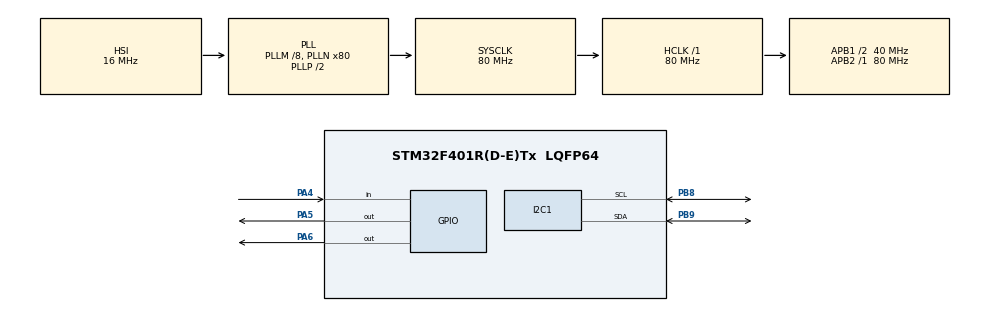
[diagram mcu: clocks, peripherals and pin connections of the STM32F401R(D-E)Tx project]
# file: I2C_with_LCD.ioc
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Mcu.Family=STM32F4
Mcu.Name=STM32F401R(D-E)Tx
Mcu.Package=LQFP64
NVIC.PriorityGroup=NVIC_PRIORITYGROUP_4
NVIC.RTC_Alarm_IRQn=true\:0\:0\:false\:false\:true\:true\:true\:true
PA13.Mode=Serial_Wire
PA13.Signal=SYS_JTMS-SWDIO
PA14.Mode=Serial_Wire
PA14.Signal=SYS_JTCK-SWCLK
PA4.Signal=GPIO_Input
PA5.Signal=GPIO_Output
PA6.Signal=GPIO_Output
PB8.Mode=I2C
PB8.Signal=I2C1_SCL
PB9.Mode=I2C
PB9.Signal=I2C1_SDA
PC14-OSC32_IN.Mode=LSE-External-Oscillator
PC14-OSC32_IN.Signal=RCC_OSC32_IN
PC15-OSC32_OUT.Mode=LSE-External-Oscillator
PC15-OSC32_OUT.Signal=RCC_OSC32_OUT
PH0\ -\ OSC_IN.Mode=HSE-External-Oscillator
PH0\ -\ OSC_IN.Signal=RCC_OSC_IN
PH1\ -\ OSC_OUT.Mode=HSE-External-Oscillator
PH1\ -\ OSC_OUT.Signal=RCC_OSC_OUT
ProjectManager.HeapSize=0x200
ProjectManager.StackSize=0x400
ProjectManager.TargetToolchain=STM32CubeIDE
RCC.48MHZClocksFreq_Value=40000000
RCC.AHBFreq_Value=80000000
RCC.APB1CLKDivider=RCC_HCLK_DIV2
RCC.APB1Freq_Value=40000000
RCC.APB1TimFreq_Value=80000000
RCC.APB2Freq_Value=80000000
RCC.APB2TimFreq_Value=80000000
RCC.CortexFreq_Value=80000000
RCC.HCLKFreq_Value=80000000
RCC.HSE_VALUE=25000000
RCC.HSI_VALUE=16000000
RCC.PLLM=8
RCC.PLLN=80
RCC.SYSCLKFreq_VALUE=80000000
RCC.SYSCLKSource=RCC_SYSCLKSOURCE_PLLCLK
RCC.VCOOutputFreq_Value=160000000
RTC.Alarm=RTC_ALARM_A
RTC.AlarmDateWeekDay=12
RTC.AlarmMaskDateWeekDay=RTC_ALARMMASK_DATEWEEKDAY
RTC.AlarmMaskHours=RTC_ALARMMASK_HOURS
RTC.AlarmMaskMinutes=RTC_ALARMMASK_MINUTES
RTC.Date=13
RTC.Hours=11
RTC.Hours_A=11
RTC.Minutes=58
RTC.Minutes_A=59
RTC.Seconds=30
RTC.Year=23
VP_RTC_VS_RTC_Activate.Mode=RTC_Enabled
VP_RTC_VS_RTC_Alarm_A_Intern.Mode=Alarm A
VP_RTC_VS_RTC_Calendar.Mode=RTC_Calendar
board=custom

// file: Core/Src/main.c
/* USER CODE BEGIN Header */
/**
  ******************************************************************************
  * @file           : main.c
  * @brief          : Main program body
  ******************************************************************************
  * @attention
  *
  * Copyright (c) 2023 STMicroelectronics.
  * All rights reserved.
  *
  * This software is licensed under terms that can be found in the LICENSE file
  * in the root directory of this software component.
  * If no LICENSE file comes with this software, it is provided AS-IS.
  *
  ******************************************************************************
  */
/* USER CODE END Header */
#include "main.h"
#include <stdio.h>
#include <stdlib.h>
#include "i2c_lcd.h"
#include "stm32f4xx_hal.h"

I2C_HandleTypeDef hi2c1;

RTC_HandleTypeDef hrtc;

uint8_t alarm = 0;

char time[10];
char date[10];
/* USER CODE END PV */

void SystemClock_Config(void);
static void MX_GPIO_Init(void);
static void MX_I2C1_Init(void);
static void MX_RTC_Init(void);

/* USER CODE BEGIN 0 */
void get_time(void)
{

	  RTC_TimeTypeDef gtime;
	  RTC_DateTypeDef gdate;

	  HAL_RTC_GetTime(&hrtc, &gtime, RTC_FORMAT_BIN);
	  sprintf((char*)time, "%02d:%02d:%02d", gtime.Hours, gtime.Minutes, gtime.Seconds);

	  HAL_RTC_GetDate(&hrtc, &gdate, RTC_FORMAT_BIN);
	  sprintf((char*)date, "%02d:%02d:%02d", gdate.Date, gdate.Month, 2000 + gdate.Year);

}

void display(void)
{
	lcd_send_cmd(0x80);
	lcd_send_string("time:");
	lcd_send_string(time);

	lcd_send_cmd(0xc0);
	lcd_send_string("Date:");
	lcd_send_string(date);
}

void set_alarm(void)
{
	  /** Enable the Alarm A
	  */
	  RTC_AlarmTypeDef sAlarm;

	  sAlarm.AlarmTime.Hours = 0x11;
	  sAlarm.AlarmTime.Minutes = 0x59;
	  sAlarm.AlarmTime.Seconds = 0x0;
	  sAlarm.AlarmTime.SubSeconds = 0x0;
	  sAlarm.AlarmTime.DayLightSaving = RTC_DAYLIGHTSAVING_NONE;
	  sAlarm.AlarmTime.StoreOperation = RTC_STOREOPERATION_RESET;
	  sAlarm.AlarmMask = RTC_ALARMMASK_NONE;
	  sAlarm.AlarmSubSecondMask = RTC_ALARMSUBSECONDMASK_ALL;
	  sAlarm.AlarmDateWeekDaySel = RTC_ALARMDATEWEEKDAYSEL_DATE;
	  sAlarm.AlarmDateWeekDay = 0x12;
	  sAlarm.Alarm = RTC_ALARM_A;
	  if (HAL_RTC_SetAlarm_IT(&hrtc, &sAlarm, RTC_FORMAT_BCD) != HAL_OK)
	  {
	    Error_Handler();
	  }
	  /* USER CODE BEGIN RTC_Init 2 */

	  /* USER CODE END RTC_Init 2 */
}

void HAL_RTC_AlarmAEventCallback(RTC_HandleTypeDef *hrtc) {

	alarm = 1;

}

/* USER CODE END 0 */

int main(void)
{

  /* MCU Configuration--------------------------------------------------------*/

  /* Reset of all peripherals, Initializes the Flash interface and the Systick. */
  HAL_Init();

  /* Configure the system clock */
  SystemClock_Config();

  /* Initialize all configured peripherals */
  MX_GPIO_Init();
  MX_I2C1_Init();
  MX_RTC_Init();
  /* USER CODE BEGIN 2 */
  lcd_init();
  /* USER CODE END 2 */

  /* Infinite loop */
  /* USER CODE BEGIN WHILE */
  while (1)
  {
	   get_time();
	   display();
	   HAL_Delay(500);

	   if (alarm)
	   {
		   HAL_GPIO_WritePin(GPIOA, GPIO_PIN_6, GPIO_PIN_SET);
		   HAL_GPIO_WritePin(GPIOA, GPIO_PIN_5, GPIO_PIN_SET);   //once alarm done will set led forever
		   alarm = 0;
	   }
 /* USER CODE BEGIN 3 */

    /* USER CODE END WHILE */
  }
    /*USER CODE BEGIN 3 */
}

void SystemClock_Config(void)
{
  RCC_OscInitTypeDef RCC_OscInitStruct = {0};
  RCC_ClkInitTypeDef RCC_ClkInitStruct = {0};

  /** Configure the main internal regulator output voltage
  */
  __HAL_RCC_PWR_CLK_ENABLE();
  __HAL_PWR_VOLTAGESCALING_CONFIG(PWR_REGULATOR_VOLTAGE_SCALE2);

  /** Initializes the RCC Oscillators according to the specified parameters
  * in the RCC_OscInitTypeDef structure.
  */
  RCC_OscInitStruct.OscillatorType = RCC_OSCILLATORTYPE_HSI|RCC_OSCILLATORTYPE_LSI;
  RCC_OscInitStruct.HSIState = RCC_HSI_ON;
  RCC_OscInitStruct.HSICalibrationValue = RCC_HSICALIBRATION_DEFAULT;
  RCC_OscInitStruct.LSIState = RCC_LSI_ON;
  RCC_OscInitStruct.PLL.PLLState = RCC_PLL_ON;
  RCC_OscInitStruct.PLL.PLLSource = RCC_PLLSOURCE_HSI;
  RCC_OscInitStruct.PLL.PLLM = 8;
  RCC_OscInitStruct.PLL.PLLN = 80;
  RCC_OscInitStruct.PLL.PLLP = RCC_PLLP_DIV2;
  RCC_OscInitStruct.PLL.PLLQ = 4;
  if (HAL_RCC_OscConfig(&RCC_OscInitStruct) != HAL_OK)
  {
    Error_Handler();
  }

  /** Initializes the CPU, AHB and APB buses clocks
  */
  RCC_ClkInitStruct.ClockType = RCC_CLOCKTYPE_HCLK|RCC_CLOCKTYPE_SYSCLK
                              |RCC_CLOCKTYPE_PCLK1|RCC_CLOCKTYPE_PCLK2;
  RCC_ClkInitStruct.SYSCLKSource = RCC_SYSCLKSOURCE_PLLCLK;
  RCC_ClkInitStruct.AHBCLKDivider = RCC_SYSCLK_DIV1;
  RCC_ClkInitStruct.APB1CLKDivider = RCC_HCLK_DIV2;
  RCC_ClkInitStruct.APB2CLKDivider = RCC_HCLK_DIV1;

  if (HAL_RCC_ClockConfig(&RCC_ClkInitStruct, FLASH_LATENCY_2) != HAL_OK)
  {
    Error_Handler();
  }
}

static void MX_I2C1_Init(void)
{

  hi2c1.Instance = I2C1;
  hi2c1.Init.ClockSpeed = 100000;
  hi2c1.Init.DutyCycle = I2C_DUTYCYCLE_2;
  hi2c1.Init.OwnAddress1 = 0;
  hi2c1.Init.AddressingMode = I2C_ADDRESSINGMODE_7BIT;
  hi2c1.Init.DualAddressMode = I2C_DUALADDRESS_DISABLE;
  hi2c1.Init.OwnAddress2 = 0;
  hi2c1.Init.GeneralCallMode = I2C_GENERALCALL_DISABLE;
  hi2c1.Init.NoStretchMode = I2C_NOSTRETCH_DISABLE;
  if (HAL_I2C_Init(&hi2c1) != HAL_OK)
  {
    Error_Handler();
  }

}

static void MX_RTC_Init(void)
{

  RTC_TimeTypeDef sTime = {0};
  RTC_DateTypeDef sDate = {0};
  RTC_AlarmTypeDef sAlarm = {0};

  /** Initialize RTC Only
  */
  hrtc.Instance = RTC;
  hrtc.Init.HourFormat = RTC_HOURFORMAT_24;
  hrtc.Init.AsynchPrediv = 127;
  hrtc.Init.SynchPrediv = 255;
  hrtc.Init.OutPut = RTC_OUTPUT_DISABLE;
  hrtc.Init.OutPutPolarity = RTC_OUTPUT_POLARITY_HIGH;
  hrtc.Init.OutPutType = RTC_OUTPUT_TYPE_OPENDRAIN;
  if (HAL_RTC_Init(&hrtc) != HAL_OK)
  {
    Error_Handler();
  }

  /** Initialize RTC and set the Time and Date
  */
  sTime.Hours = 0x11;
  sTime.Minutes = 0x58;
  sTime.Seconds = 0x45;
  sTime.DayLightSaving = RTC_DAYLIGHTSAVING_NONE;
  sTime.StoreOperation = RTC_STOREOPERATION_RESET;
  if (HAL_RTC_SetTime(&hrtc, &sTime, RTC_FORMAT_BCD) != HAL_OK)
  {
    Error_Handler();
  }
  sDate.WeekDay = RTC_WEEKDAY_MONDAY;
  sDate.Month = RTC_MONTH_JANUARY;
  sDate.Date = 0x13;
  sDate.Year = 0x23;

  if (HAL_RTC_SetDate(&hrtc, &sDate, RTC_FORMAT_BCD) != HAL_OK)
  {
    Error_Handler();
  }

  /** Enable the Alarm A
  */
  sAlarm.AlarmTime.Hours = 0x11;
  sAlarm.AlarmTime.Minutes = 0x59;
  sAlarm.AlarmTime.Seconds = 0x0;
  sAlarm.AlarmTime.SubSeconds = 0x0;
  sAlarm.AlarmTime.DayLightSaving = RTC_DAYLIGHTSAVING_NONE;
  sAlarm.AlarmTime.StoreOperation = RTC_STOREOPERATION_RESET;
  sAlarm.AlarmMask = RTC_ALARMMASK_DATEWEEKDAY|RTC_ALARMMASK_HOURS
                              |RTC_ALARMMASK_MINUTES;
  sAlarm.AlarmSubSecondMask = RTC_ALARMSUBSECONDMASK_ALL;
  sAlarm.AlarmDateWeekDaySel = RTC_ALARMDATEWEEKDAYSEL_DATE;
  sAlarm.AlarmDateWeekDay = 0x12;
  sAlarm.Alarm = RTC_ALARM_A;
  if (HAL_RTC_SetAlarm_IT(&hrtc, &sAlarm, RTC_FORMAT_BCD) != HAL_OK)
  {
    Error_Handler();
  }

}

static void MX_GPIO_Init(void)
{
  GPIO_InitTypeDef GPIO_InitStruct = {0};

  /* GPIO Ports Clock Enable */
  __HAL_RCC_GPIOC_CLK_ENABLE();
  __HAL_RCC_GPIOH_CLK_ENABLE();
  __HAL_RCC_GPIOA_CLK_ENABLE();
  __HAL_RCC_GPIOB_CLK_ENABLE();

  /*Configure GPIO pin Output Level */
  HAL_GPIO_WritePin(GPIOA, GPIO_PIN_5|GPIO_PIN_6, GPIO_PIN_RESET);

  /*Configure GPIO pin : PA4 */
  GPIO_InitStruct.Pin = GPIO_PIN_4;
  GPIO_InitStruct.Mode = GPIO_MODE_INPUT;
  GPIO_InitStruct.Pull = GPIO_NOPULL;
  HAL_GPIO_Init(GPIOA, &GPIO_InitStruct);

  /*Configure GPIO pins : PA5 PA6 */
  GPIO_InitStruct.Pin = GPIO_PIN_5|GPIO_PIN_6;
  GPIO_InitStruct.Mode = GPIO_MODE_OUTPUT_PP;
  GPIO_InitStruct.Pull = GPIO_NOPULL;
  GPIO_InitStruct.Speed = GPIO_SPEED_FREQ_LOW;
  HAL_GPIO_Init(GPIOA, &GPIO_InitStruct);

}

void Error_Handler(void)
{
  __disable_irq();
  while (1)
  {
  }
}
